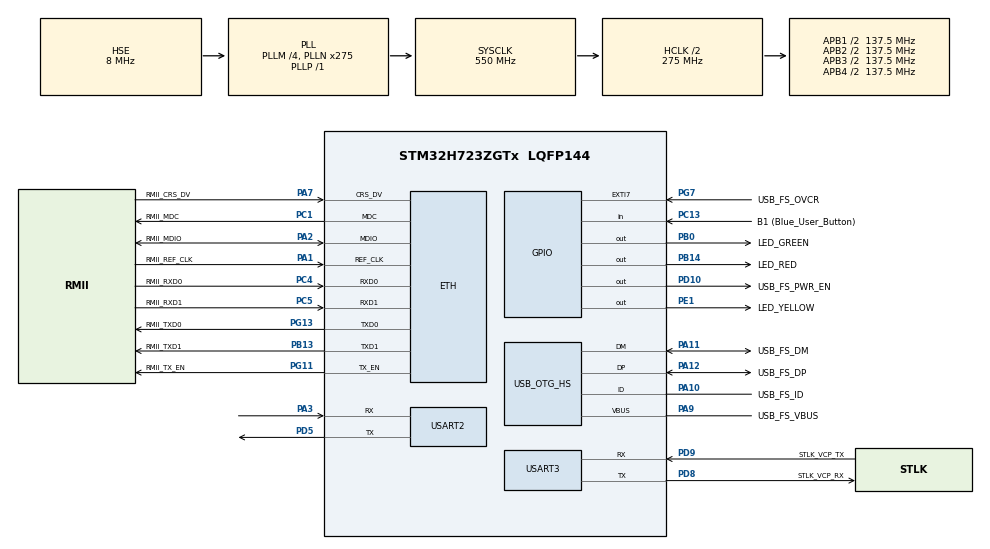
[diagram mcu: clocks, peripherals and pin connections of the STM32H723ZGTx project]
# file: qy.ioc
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ETH.MediaInterface=HAL_ETH_RMII_MODE
Mcu.Family=STM32H7
Mcu.Name=STM32H723ZGTx
Mcu.Package=LQFP144
NVIC.PriorityGroup=NVIC_PRIORITYGROUP_4
NVIC.USART2_IRQn=true\:0\:0\:false\:false\:true\:true\:true\:true
PA1.GPIO_Label=RMII_REF_CLK
PA1.Mode=RMII
PA1.Signal=ETH_REF_CLK
PA10.GPIO_Label=USB_FS_ID
PA10.Mode=OTG/Dual-Role-Device-FS
PA10.Signal=USB_OTG_HS_ID
PA11.GPIO_Label=USB_FS_DM
PA11.Mode=OTG/Dual-Role-Device-FS
PA11.Signal=USB_OTG_HS_DM
PA12.GPIO_Label=USB_FS_DP
PA12.Mode=OTG/Dual-Role-Device-FS
PA12.Signal=USB_OTG_HS_DP
PA13(JTMS/SWDIO).GPIO_Label=SWDIO
PA13(JTMS/SWDIO).Mode=Trace_Asynchronous_SW
PA13(JTMS/SWDIO).Signal=DEBUG_JTMS-SWDIO
PA14(JTCK/SWCLK).GPIO_Label=SWCLK
PA14(JTCK/SWCLK).Mode=Trace_Asynchronous_SW
PA14(JTCK/SWCLK).Signal=DEBUG_JTCK-SWCLK
PA2.GPIO_Label=RMII_MDIO
PA2.Mode=RMII
PA2.Signal=ETH_MDIO
PA3.Mode=Asynchronous
PA3.Signal=USART2_RX
PA7.GPIO_Label=RMII_CRS_DV
PA7.Mode=RMII
PA7.Signal=ETH_CRS_DV
PA9.GPIO_Label=USB_FS_VBUS
PA9.Mode=Activate_VBUS_FS
PA9.Signal=USB_OTG_HS_VBUS
PB0.GPIO_Label=LED_GREEN
PB0.Signal=GPIO_Output
PB13.GPIO_Label=RMII_TXD1
PB13.Mode=RMII
PB13.Signal=ETH_TXD1
PB14.GPIO_Label=LED_RED
PB14.Signal=GPIO_Output
PB3(JTDO/TRACESWO).GPIO_Label=SWO
PB3(JTDO/TRACESWO).Mode=Trace_Asynchronous_SW
PB3(JTDO/TRACESWO).Signal=DEBUG_JTDO-SWO
PC1.GPIO_Label=RMII_MDC
PC1.Mode=RMII
PC1.Signal=ETH_MDC
PC13.GPIO_Label=B1 (Blue_User_Button)
PC13.Signal=GPIO_Input
PC14-OSC32_IN.Signal=RCC_OSC32_IN
PC15-OSC32_OUT.Signal=RCC_OSC32_OUT
PC4.GPIO_Label=RMII_RXD0
PC4.Mode=RMII
PC4.Signal=ETH_RXD0
PC5.GPIO_Label=RMII_RXD1
PC5.Mode=RMII
PC5.Signal=ETH_RXD1
PD10.GPIO_Label=USB_FS_PWR_EN
PD10.Signal=GPIO_Output
PD5.Mode=Asynchronous
PD5.Signal=USART2_TX
PD8.GPIO_Label=STLK_VCP_RX
PD8.Mode=Asynchronous
PD8.Signal=USART3_TX
PD9.GPIO_Label=STLK_VCP_TX
PD9.Mode=Asynchronous
PD9.Signal=USART3_RX
PE1.GPIO_Label=LED_YELLOW
PE1.Signal=GPIO_Output
PG11.GPIO_Label=RMII_TX_EN
PG11.Mode=RMII
PG11.Signal=ETH_TX_EN
PG13.GPIO_Label=RMII_TXD0
PG13.Mode=RMII
PG13.Signal=ETH_TXD0
PG7.GPIO_Label=USB_FS_OVCR
PG7.Signal=GPXTI7
PH0-OSC_IN.GPIO_Label=MCO
PH0-OSC_IN.Mode=HSE-External-Oscillator
PH0-OSC_IN.Signal=RCC_OSC_IN
PH1-OSC_OUT.Mode=HSE-External-Oscillator
PH1-OSC_OUT.Signal=RCC_OSC_OUT
ProjectManager.HeapSize=0x200
ProjectManager.StackSize=0x400
ProjectManager.TargetToolchain=MDK-ARM V5
RCC.ADCFreq_Value=76000000
RCC.APB1Freq_Value=137500000
RCC.APB2Freq_Value=137500000
RCC.APB3Freq_Value=137500000
RCC.APB4Freq_Value=137500000
RCC.CortexFreq_Value=550000000
RCC.D1PPRE=RCC_APB3_DIV2
RCC.D2PPRE1=RCC_APB1_DIV2
RCC.D2PPRE2=RCC_APB2_DIV2
RCC.D3PPRE=RCC_APB4_DIV2
RCC.DIVM1=4
RCC.DIVM2=1
RCC.DIVN1=275
RCC.DIVN2=19
RCC.DIVP1=1
RCC.DIVQ1=4
RCC.HCLKFreq_Value=275000000
RCC.HPRE=RCC_HCLK_DIV2
RCC.HSE_VALUE=8000000
RCC.PLLFRACN=0
RCC.PLLSourceVirtual=RCC_PLLSOURCE_HSE
RCC.SYSCLKFreq_VALUE=550000000
RCC.SYSCLKSource=RCC_SYSCLKSOURCE_PLLCLK
RCC.USBCLockSelection=RCC_USBCLKSOURCE_HSI48
RCC.USBFreq_Value=48000000
USART2.VirtualMode-Asynchronous=VM_ASYNC
USART3.VirtualMode-Asynchronous=VM_ASYNC
board=NUCLEO-H723ZG

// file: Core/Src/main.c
/* USER CODE BEGIN Header */
/**
  ******************************************************************************
  * @file           : main.c
  * @brief          : Main program body
  ******************************************************************************
  * @attention
  *
  * Copyright (c) 2024 STMicroelectronics.
  * All rights reserved.
  *
  * This software is licensed under terms that can be found in the LICENSE file
  * in the root directory of this software component.
  * If no LICENSE file comes with this software, it is provided AS-IS.
  *
  ******************************************************************************
  */
/* USER CODE END Header */
#include "main.h"
#include "eth.h"
#include "usart.h"
#include "usb_otg.h"
#include "gpio.h"

/* USER CODE BEGIN Includes */
#include "motor.h"
#include "esp8266.h"
#include "onenet.h"
/* USER CODE END Includes */

/* USER CODE BEGIN PD */
extern unsigned char esp8266_buf[512];
extern unsigned char data[2];
extern int i;
extern unsigned char esp8266_data[2];
/* USER CODE END PD */

/* USER CODE BEGIN PV */
uint8_t test[4]="fuck";
/* USER CODE END PV */

void SystemClock_Config(void);

int main(void)
{

  /* USER CODE BEGIN 1 */
	unsigned short timeCount = 0;	//发送间隔变量

	unsigned char *dataPtr = NULL;
  /* USER CODE END 1 */

  /* MCU Configuration--------------------------------------------------------*/

  /* Reset of all peripherals, Initializes the Flash interface and the Systick. */
  HAL_Init();

  /* Configure the system clock */
  SystemClock_Config();

  /* Initialize all configured peripherals */
  MX_GPIO_Init();
  MX_ETH_Init();
  MX_USART2_UART_Init();
  MX_USART3_UART_Init();
  MX_USB_OTG_HS_USB_Init();
  /* USER CODE BEGIN 2 */
		HAL_UART_Receive_IT(&huart2, &esp8266_data[0], 1);

	ESP8266_Init();

	HAL_UART_Printf(USART_DEBUG, "Connect MQTT Server Success\r\n");

	while(OneNet_DevLink())			//接入OneNET
		HAL_Delay(500);
		HAL_UART_Printf(USART_DEBUG, "66666666666\r\n");
				OneNET_Subscribe();

  /* USER CODE END 2 */

  /* Infinite loop */
  /* USER CODE BEGIN WHILE */
  while (1)
  {

		if(++timeCount >= 100)
{
			OneNet_SendData();									//发送数据

			timeCount = 0;
			ESP8266_Clear();

}
		dataPtr = ESP8266_GetIPD(0);
		if(dataPtr != NULL)
			OneNet_RevPro(dataPtr);

		HAL_Delay(10);

    /* USER CODE END WHILE */

  }
}

void SystemClock_Config(void)
{
  RCC_OscInitTypeDef RCC_OscInitStruct = {0};
  RCC_ClkInitTypeDef RCC_ClkInitStruct = {0};

  /** Supply configuration update enable
  */
  HAL_PWREx_ConfigSupply(PWR_LDO_SUPPLY);

  /** Configure the main internal regulator output voltage
  */
  __HAL_PWR_VOLTAGESCALING_CONFIG(PWR_REGULATOR_VOLTAGE_SCALE0);

  while(!__HAL_PWR_GET_FLAG(PWR_FLAG_VOSRDY)) {}

  /** Initializes the RCC Oscillators according to the specified parameters
  * in the RCC_OscInitTypeDef structure.
  */
  RCC_OscInitStruct.OscillatorType = RCC_OSCILLATORTYPE_HSI48|RCC_OSCILLATORTYPE_HSE;
  RCC_OscInitStruct.HSEState = RCC_HSE_ON;
  RCC_OscInitStruct.HSI48State = RCC_HSI48_ON;
  RCC_OscInitStruct.PLL.PLLState = RCC_PLL_ON;
  RCC_OscInitStruct.PLL.PLLSource = RCC_PLLSOURCE_HSE;
  RCC_OscInitStruct.PLL.PLLM = 4;
  RCC_OscInitStruct.PLL.PLLN = 275;
  RCC_OscInitStruct.PLL.PLLP = 1;
  RCC_OscInitStruct.PLL.PLLQ = 4;
  RCC_OscInitStruct.PLL.PLLR = 2;
  RCC_OscInitStruct.PLL.PLLRGE = RCC_PLL1VCIRANGE_1;
  RCC_OscInitStruct.PLL.PLLVCOSEL = RCC_PLL1VCOWIDE;
  RCC_OscInitStruct.PLL.PLLFRACN = 0;
  if (HAL_RCC_OscConfig(&RCC_OscInitStruct) != HAL_OK)
  {
    Error_Handler();
  }

  /** Initializes the CPU, AHB and APB buses clocks
  */
  RCC_ClkInitStruct.ClockType = RCC_CLOCKTYPE_HCLK|RCC_CLOCKTYPE_SYSCLK
                              |RCC_CLOCKTYPE_PCLK1|RCC_CLOCKTYPE_PCLK2
                              |RCC_CLOCKTYPE_D3PCLK1|RCC_CLOCKTYPE_D1PCLK1;
  RCC_ClkInitStruct.SYSCLKSource = RCC_SYSCLKSOURCE_PLLCLK;
  RCC_ClkInitStruct.SYSCLKDivider = RCC_SYSCLK_DIV1;
  RCC_ClkInitStruct.AHBCLKDivider = RCC_HCLK_DIV2;
  RCC_ClkInitStruct.APB3CLKDivider = RCC_APB3_DIV2;
  RCC_ClkInitStruct.APB1CLKDivider = RCC_APB1_DIV2;
  RCC_ClkInitStruct.APB2CLKDivider = RCC_APB2_DIV2;
  RCC_ClkInitStruct.APB4CLKDivider = RCC_APB4_DIV2;

  if (HAL_RCC_ClockConfig(&RCC_ClkInitStruct, FLASH_LATENCY_3) != HAL_OK)
  {
    Error_Handler();
  }
}

void Error_Handler(void)
{
  __disable_irq();
  while (1)
  {
  }
}
